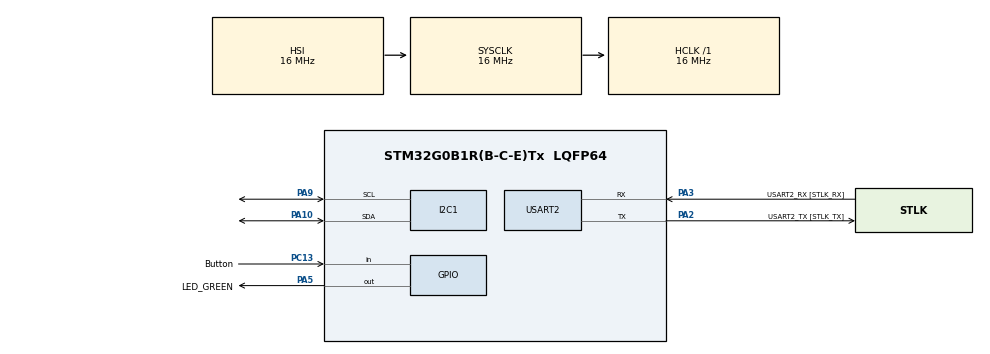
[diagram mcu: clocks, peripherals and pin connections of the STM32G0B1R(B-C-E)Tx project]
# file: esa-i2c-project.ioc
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I2C1.OwnAddress=0x42
Mcu.Family=STM32G0
Mcu.Name=STM32G0B1R(B-C-E)Tx
Mcu.Package=LQFP64
PA10.GPIO_Pu=GPIO_PULLUP
PA10.Mode=I2C
PA10.Signal=I2C1_SDA
PA13.GPIO_Label=TMS
PA13.Mode=Serial_Wire
PA13.Signal=SYS_SWDIO
PA14-BOOT0.GPIO_Label=TCK
PA14-BOOT0.Mode=Serial_Wire
PA14-BOOT0.Signal=SYS_SWCLK
PA2.GPIO_Label=USART2_TX [STLK_TX]
PA2.Mode=Asynchronous
PA2.Signal=USART2_TX
PA3.GPIO_Label=USART2_RX [STLK_RX]
PA3.Mode=Asynchronous
PA3.Signal=USART2_RX
PA5.GPIO_Label=LED_GREEN
PA5.GPIO_Speed=GPIO_SPEED_FREQ_HIGH
PA5.Signal=GPIO_Output
PA9.GPIO_Pu=GPIO_PULLUP
PA9.Mode=I2C
PA9.Signal=I2C1_SCL
PC13.GPIO_Label=Button
PC13.GPIO_PuPd=GPIO_PULLUP
PC13.Signal=GPIO_Input
PC14-OSC32_IN\ (PC14).Mode=LSE-External-Oscillator
PC14-OSC32_IN\ (PC14).Signal=RCC_OSC32_IN
PC15-OSC32_OUT\ (PC15).Mode=LSE-External-Oscillator
PC15-OSC32_OUT\ (PC15).Signal=RCC_OSC32_OUT
PF0-OSC_IN\ (PF0).GPIO_Label=MCO
PF0-OSC_IN\ (PF0).Mode=HSE-External-Clock-Source
PF0-OSC_IN\ (PF0).Signal=RCC_OSC_IN
ProjectManager.HeapSize=0x200
ProjectManager.StackSize=0x400
ProjectManager.TargetToolchain=STM32CubeIDE
RCC.AHBFreq_Value=16000000
RCC.CortexFreq_Value=16000000
RCC.EXTERNAL_CLOCK_VALUE=12288000
RCC.HCLKFreq_Value=16000000
RCC.HSE_VALUE=8000000
RCC.HSI48_VALUE=48000000
RCC.HSI_VALUE=16000000
RCC.SYSCLKFreq_VALUE=16000000
RCC.USBFreq_Value=48000000
RCC.VCOOutputFreq_Value=128000000
USART2.VirtualMode-Asynchronous=VM_ASYNC
board=NUCLEO-G0B1RE

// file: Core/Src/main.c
/* USER CODE BEGIN Header */
/**
 ******************************************************************************
 * @file           : main.c
 * @brief          : Main program body
 ******************************************************************************
 * @attention
 *
 * Copyright (c) 2023 STMicroelectronics.
 * All rights reserved.
 *
 * This software is licensed under terms that can be found in the LICENSE file
 * in the root directory of this software component.
 * If no LICENSE file comes with this software, it is provided AS-IS.
 *
 ******************************************************************************
 */
/* USER CODE END Header */
#include "main.h"

/* USER CODE BEGIN PD */
#define MASTER_NODE

#ifndef MASTER_NODE
#define SLAVE_NODE
#endif
/* USER CODE END PD */

I2C_HandleTypeDef hi2c1;

UART_HandleTypeDef huart2;

/* USER CODE BEGIN PV */
#define BUTTON_DEBOUNCE_DELAY_MS 20
GPIO_PinState lastButtonState = GPIO_PIN_SET;
uint8_t flagState = 0;
/* USER CODE END PV */

void SystemClock_Config(void);
static void MX_GPIO_Init(void);
static void MX_USART2_UART_Init(void);
static void MX_I2C1_Init(void);

int main(void)
{

  /* MCU Configuration--------------------------------------------------------*/

  /* Reset of all peripherals, Initializes the Flash interface and the Systick. */
  HAL_Init();

  /* USER CODE BEGIN Init */
  uint8_t sendData[] = "3";
  uint8_t ledStatus[] = "0";

#ifdef MASTER_NODE
  // Send test message from master to slave
  uint8_t slaveAddress = 0x42;
  uint8_t master_ledStatus_rx[sizeof(ledStatus)];
#endif

#ifdef SLAVE_NODE
//  uint8_t masterAddress = 0x0;
  // Define size of the receivedData based on sendData size
  uint8_t receivedData[sizeof(sendData)];
#endif

  /* USER CODE END Init */

  /* Configure the system clock */
  SystemClock_Config();

  /* Initialize all configured peripherals */
  MX_GPIO_Init();
  MX_USART2_UART_Init();
  MX_I2C1_Init();

  /* Infinite loop */
  while (1)
  {

    /* USER CODE BEGIN 3 */
#ifdef MASTER_NODE
	    uint8_t data[] = "\r\nMaster node active!\r\n";
	    HAL_UART_Transmit(&huart2, data, sizeof(data) - 1, HAL_MAX_DELAY);

	    GPIO_PinState buttonState = HAL_GPIO_ReadPin(Button_GPIO_Port, Button_Pin);

	    // Button debouncing
	    if (buttonState != lastButtonState) {
	        HAL_Delay(BUTTON_DEBOUNCE_DELAY_MS);
	        buttonState = HAL_GPIO_ReadPin(Button_GPIO_Port, Button_Pin);

	    }

	      if (buttonState == GPIO_PIN_RESET && lastButtonState == GPIO_PIN_RESET) {

	    	  flagState = 1;
	      }

	      if (flagState == 1) {
	    	  uint8_t data[] = "\r\nNice!\r\n";
	    	  	    	    HAL_UART_Transmit(&huart2, data, sizeof(data) - 1, HAL_MAX_DELAY);
	    	  	    	    flagState=0;
	      }
//
//	    	    HAL_I2C_Master_Receive(&hi2c1, slaveAddress, master_ledStatus_rx, sizeof(master_ledStatus_rx), HAL_MAX_DELAY);
//	    	    if (strcmp((char*)master_ledStatus_rx, "0") == 0)  {
//	    	    	HAL_I2C_Master_Transmit(&hi2c1, slaveAddress, "1", sizeof(sendData), HAL_MAX_DELAY);
//	    	    } else if (strcmp((char*)master_ledStatus_rx, "1") == 0) {
//
//	    	    	HAL_I2C_Master_Transmit(&hi2c1, slaveAddress, "0", sizeof(sendData), HAL_MAX_DELAY);
//	    	    } else  {
//
//	    	    	HAL_I2C_Master_Transmit(&hi2c1, slaveAddress, "2", sizeof(sendData), HAL_MAX_DELAY);
//	    	    }
//
//	    	    HAL_UART_Transmit(&huart2, master_ledStatus_rx, sizeof(master_ledStatus_rx) - 1, HAL_MAX_DELAY);
//	    	    flagState = 0;
//	      }

	      lastButtonState = buttonState;

//    HAL_Delay(100);
#else
#ifdef SLAVE_NODE
    uint8_t data[] = "\r\nSlave node active!\r\n";
    HAL_UART_Transmit(&huart2, data, sizeof(data) - 1, HAL_MAX_DELAY);
    HAL_I2C_Slave_Transmit(&hi2c1, ledStatus, sizeof(ledStatus), HAL_MAX_DELAY);
    HAL_I2C_Slave_Receive(&hi2c1, receivedData, sizeof(receivedData), HAL_MAX_DELAY);
    HAL_UART_Transmit(&huart2, receivedData, sizeof(receivedData) - 1, HAL_MAX_DELAY);
//    HAL_Delay(100);
#else
    uint8_t data[] = "Error, node not configured!\r\n";
    HAL_UART_Transmit(&huart2, data, sizeof(data) - 1, HAL_MAX_DELAY);
#endif
#endif

  }
  /* USER CODE END 3 */
}

void SystemClock_Config(void)
{
  RCC_OscInitTypeDef RCC_OscInitStruct = {0};
  RCC_ClkInitTypeDef RCC_ClkInitStruct = {0};

  /** Configure the main internal regulator output voltage
  */
  HAL_PWREx_ControlVoltageScaling(PWR_REGULATOR_VOLTAGE_SCALE1);

  /** Initializes the RCC Oscillators according to the specified parameters
  * in the RCC_OscInitTypeDef structure.
  */
  RCC_OscInitStruct.OscillatorType = RCC_OSCILLATORTYPE_HSI;
  RCC_OscInitStruct.HSIState = RCC_HSI_ON;
  RCC_OscInitStruct.HSIDiv = RCC_HSI_DIV1;
  RCC_OscInitStruct.HSICalibrationValue = RCC_HSICALIBRATION_DEFAULT;
  RCC_OscInitStruct.PLL.PLLState = RCC_PLL_NONE;
  if (HAL_RCC_OscConfig(&RCC_OscInitStruct) != HAL_OK)
  {
    Error_Handler();
  }

  /** Initializes the CPU, AHB and APB buses clocks
  */
  RCC_ClkInitStruct.ClockType = RCC_CLOCKTYPE_HCLK|RCC_CLOCKTYPE_SYSCLK
                              |RCC_CLOCKTYPE_PCLK1;
  RCC_ClkInitStruct.SYSCLKSource = RCC_SYSCLKSOURCE_HSI;
  RCC_ClkInitStruct.AHBCLKDivider = RCC_SYSCLK_DIV1;
  RCC_ClkInitStruct.APB1CLKDivider = RCC_HCLK_DIV1;

  if (HAL_RCC_ClockConfig(&RCC_ClkInitStruct, FLASH_LATENCY_0) != HAL_OK)
  {
    Error_Handler();
  }
}

static void MX_I2C1_Init(void)
{

  /* USER CODE BEGIN I2C1_Init 1 */
#ifdef SLAVE_NODE
  // Set slave's address to 0x42
  hi2c1.Init.OwnAddress1 = 0x42;
#endif
#ifdef MASTER_NODE
  // Master should have no address
  hi2c1.Init.OwnAddress1 = 0x00;
#endif

  /* USER CODE END I2C1_Init 1 */
  hi2c1.Instance = I2C1;
  hi2c1.Init.Timing = 0x00303D5B;
  hi2c1.Init.OwnAddress1 = 132;
  hi2c1.Init.AddressingMode = I2C_ADDRESSINGMODE_7BIT;
  hi2c1.Init.DualAddressMode = I2C_DUALADDRESS_DISABLE;
  hi2c1.Init.OwnAddress2 = 0;
  hi2c1.Init.OwnAddress2Masks = I2C_OA2_NOMASK;
  hi2c1.Init.GeneralCallMode = I2C_GENERALCALL_DISABLE;
  hi2c1.Init.NoStretchMode = I2C_NOSTRETCH_DISABLE;
  if (HAL_I2C_Init(&hi2c1) != HAL_OK)
  {
    Error_Handler();
  }

  /** Configure Analogue filter
  */
  if (HAL_I2CEx_ConfigAnalogFilter(&hi2c1, I2C_ANALOGFILTER_ENABLE) != HAL_OK)
  {
    Error_Handler();
  }

  /** Configure Digital filter
  */
  if (HAL_I2CEx_ConfigDigitalFilter(&hi2c1, 0) != HAL_OK)
  {
    Error_Handler();
  }

}

static void MX_USART2_UART_Init(void)
{

  huart2.Instance = USART2;
  huart2.Init.BaudRate = 115200;
  huart2.Init.WordLength = UART_WORDLENGTH_8B;
  huart2.Init.StopBits = UART_STOPBITS_1;
  huart2.Init.Parity = UART_PARITY_NONE;
  huart2.Init.Mode = UART_MODE_TX_RX;
  huart2.Init.HwFlowCtl = UART_HWCONTROL_NONE;
  huart2.Init.OverSampling = UART_OVERSAMPLING_16;
  huart2.Init.OneBitSampling = UART_ONE_BIT_SAMPLE_DISABLE;
  huart2.Init.ClockPrescaler = UART_PRESCALER_DIV1;
  huart2.AdvancedInit.AdvFeatureInit = UART_ADVFEATURE_NO_INIT;
  if (HAL_UART_Init(&huart2) != HAL_OK)
  {
    Error_Handler();
  }
  if (HAL_UARTEx_SetTxFifoThreshold(&huart2, UART_TXFIFO_THRESHOLD_1_8) != HAL_OK)
  {
    Error_Handler();
  }
  if (HAL_UARTEx_SetRxFifoThreshold(&huart2, UART_RXFIFO_THRESHOLD_1_8) != HAL_OK)
  {
    Error_Handler();
  }
  if (HAL_UARTEx_DisableFifoMode(&huart2) != HAL_OK)
  {
    Error_Handler();
  }

}

static void MX_GPIO_Init(void)
{
  GPIO_InitTypeDef GPIO_InitStruct = {0};

  /* GPIO Ports Clock Enable */
  __HAL_RCC_GPIOC_CLK_ENABLE();
  __HAL_RCC_GPIOF_CLK_ENABLE();
  __HAL_RCC_GPIOA_CLK_ENABLE();

  /*Configure GPIO pin Output Level */
  HAL_GPIO_WritePin(LED_GREEN_GPIO_Port, LED_GREEN_Pin, GPIO_PIN_RESET);

  /*Configure GPIO pin : Button_Pin */
  GPIO_InitStruct.Pin = Button_Pin;
  GPIO_InitStruct.Mode = GPIO_MODE_INPUT;
  GPIO_InitStruct.Pull = GPIO_PULLUP;
  HAL_GPIO_Init(Button_GPIO_Port, &GPIO_InitStruct);

  /*Configure GPIO pin : LED_GREEN_Pin */
  GPIO_InitStruct.Pin = LED_GREEN_Pin;
  GPIO_InitStruct.Mode = GPIO_MODE_OUTPUT_PP;
  GPIO_InitStruct.Pull = GPIO_NOPULL;
  GPIO_InitStruct.Speed = GPIO_SPEED_FREQ_HIGH;
  HAL_GPIO_Init(LED_GREEN_GPIO_Port, &GPIO_InitStruct);

}

void Error_Handler(void)
{
  __disable_irq();
  while (1)
  {
  }
}
